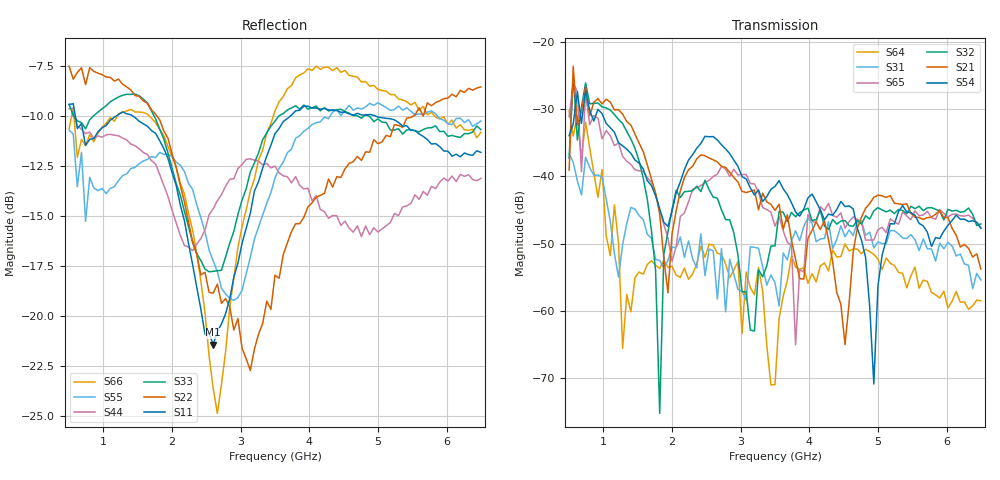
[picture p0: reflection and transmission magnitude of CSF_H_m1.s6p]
!Keysight Technologies,M9804A,MY58100912,A.14.10.03
!Date: Thursday, April 27, 2023 10:28:33
!Correction: S11(C  6-Port  )
!S12(C  6-Port  )
!S13(C  6-Port  )
!S14(C  6-Port  )
!S15(C  6-Port  )
!S16(C  6-Port  )
!S21(C  6-Port  )
!S22(C  6-Port  )
!S23(C  6-Port  )
!S24(C  6-Port  )
!S25(C  6-Port  )
!S26(C  6-Port  )
!S31(C  6-Port  )
!S32(C  6-Port  )
!S33(C  6-Port  )
!S34(C  6-Port  )
!S35(C  6-Port  )
!S36(C  6-Port  )
!S41(C  6-Port  )
!S42(C  6-Port  )
!S43(C  6-Port  )
!S44(C  6-Port  )
!S45(C  6-Port  )
!S46(C  6-Port  )
!S51(C  6-Port  )
!S52(C  6-Port  )
!S53(C  6-Port  )
!S54(C  6-Port  )
!S55(C  6-Port  )
!S56(C  6-Port  )
!S61(C  6-Port  )
!S62(C  6-Port  )
!S63(C  6-Port  )
!S64(C  6-Port  )
!S65(C  6-Port  )
!S66(C  6-Port  )
!S6P File: Measurement: :
# Hz S  RI  R 50
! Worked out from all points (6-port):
!   101 points, 500 MHz to 6.5 GHz, reference 50 ohm
!   strongest paths, dB at 500 MHz, 2 GHz, 3.5 GHz, 5 GHz, 6.5 GHz:
!     S54: -33.9, -45.1, -41.5, -56.3, -47.8
!     S21: -39.1, -48.5, -45.1, -42.8, -53.8
!     S32: -37.3, -44.9, -50.4, -44.6, -47.1
!     S65: -31.1, -52.6, -47.4, -47.9, -47.6
!     S31: -36.6, -50.5, -55.8, -49.7, -55.4
!     S64: -30.2, -53.4, -71.0, -52.3, -58.5
!   lowest |S11| = -21.4 dB at 2.6 GHz (marker M1), VSWR 1.19, Z = 42.4 + j2.18 ohm
!   |S11| at or under -10 dB: 590.7 MHz to 1.176 GHz (585.5 MHz wide, 66.3 % of centre); 1.438 GHz to 3.716 GHz (2.278 GHz wide, 88.4 % of centre); 4.98 GHz to end of sweep
